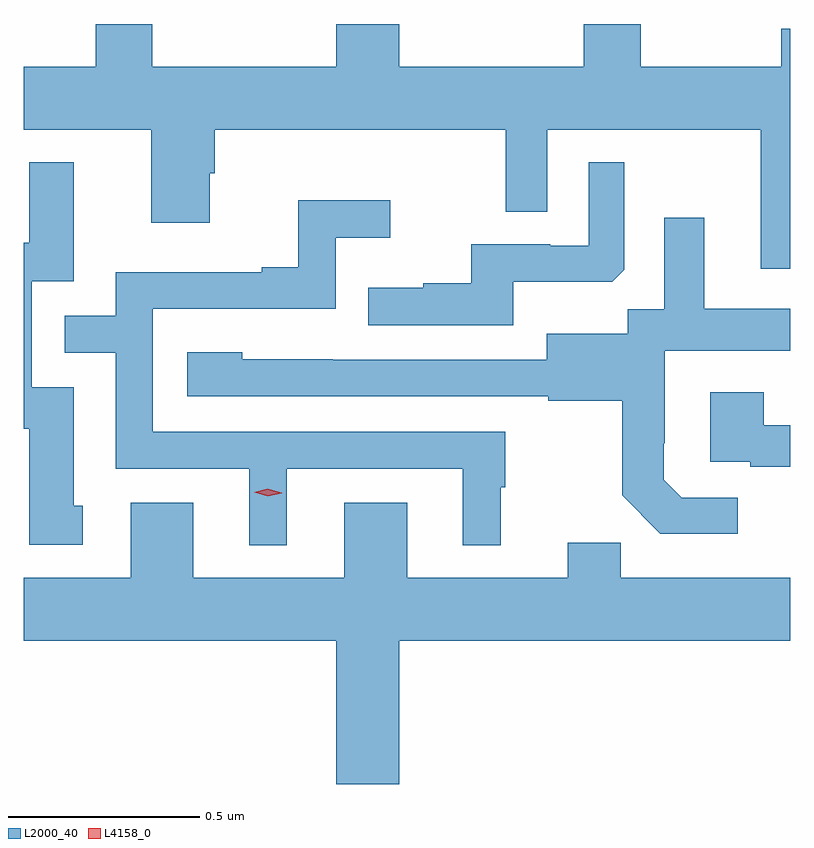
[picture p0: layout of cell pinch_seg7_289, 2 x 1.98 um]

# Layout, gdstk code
import gdstk
lib = gdstk.Library(unit=1e-6, precision=1e-09)
def P(c, l, *ps):  # polygons
    for p in ps: c.add(gdstk.Polygon(p, *l))
L2000_40 = (2000, 40)
L4158_0 = (4158, 0)

pinch_seg7_289 = lib.new_cell('pinch_seg7_289')
P(pinch_seg7_289, L2000_40, [(753.604,1051.495),(753.58,1051.495),(753.58,1051.396),(753.213,1051.396),(753.213,1051.508),(753.065,1051.508),(753.065,1051.396),(752.584,1051.396),(752.584,1051.508),(752.42,1051.508),(752.42,1051.396),(751.939,1051.396),(751.939,1051.508),(751.792,1051.508),(751.792,1051.396),(751.604,1051.396),(751.604,1051.232),(751.937,1051.232),(751.937,1050.99),(752.089,1050.99),(752.089,1051.119),(752.102,1051.119),(752.102,1051.232),(752.862,1051.232),(752.862,1051.018),(752.97,1051.018),(752.97,1051.232),(753.527,1051.232),(753.527,1050.87),(753.604,1050.87)],
  [(752.881,1050.836),(753.139,1050.836),(753.171,1050.867),(753.171,1051.147),(753.078,1051.147),(753.078,1050.93),(752.978,1050.93),(752.978,1050.933),(752.771,1050.933),(752.771,1050.832),(752.647,1050.832),(752.647,1050.82),(752.503,1050.82),(752.503,1050.723),(752.881,1050.723)],
  [(751.759,1050.252),(751.735,1050.252),(751.735,1050.561),(751.626,1050.561),(751.626,1050.837),(751.735,1050.837),(751.735,1051.147),(751.619,1051.147),(751.619,1050.938),(751.604,1050.938),(751.604,1050.453),(751.619,1050.453),(751.619,1050.15),(751.759,1050.15)],
  [(752.29,1050.348),(752.75,1050.348),(752.75,1050.149),(752.848,1050.149),(752.848,1050.3),(752.86,1050.3),(752.86,1050.444),(751.941,1050.444),(751.941,1050.765),(752.418,1050.765),(752.418,1050.95),(752.56,1050.95),(752.56,1051.049),(752.32,1051.049),(752.32,1050.874),(752.225,1050.874),(752.225,1050.861),(751.845,1050.861),(751.845,1050.747),(751.711,1050.747),(751.711,1050.651),(751.845,1050.651),(751.845,1050.348),(752.192,1050.348),(752.192,1050.149),(752.29,1050.149)],
  [(753.466,1050.273),(753.321,1050.273),(753.274,1050.32),(753.274,1050.415),(753.276,1050.415),(753.276,1050.656),(753.604,1050.656),(753.604,1050.766),(753.379,1050.766),(753.379,1051.003),(753.275,1051.003),(753.275,1050.764),(753.18,1050.764),(753.18,1050.7),(752.969,1050.7),(752.969,1050.633),(752.411,1050.633),(752.411,1050.634),(752.175,1050.634),(752.175,1050.652),(752.031,1050.652),(752.031,1050.537),(752.973,1050.537),(752.973,1050.525),(753.165,1050.525),(753.165,1050.279),(753.265,1050.179),(753.466,1050.179)],
  [(753.604,1050.462),(753.535,1050.462),(753.535,1050.547),(753.395,1050.547),(753.395,1050.366),(753.499,1050.366),(753.499,1050.354),(753.604,1050.354)],
  [(752.584,1049.9),(753.604,1049.9),(753.604,1050.064),(753.161,1050.064),(753.161,1050.155),(753.023,1050.155),(753.023,1050.064),(752.605,1050.064),(752.605,1050.259),(752.441,1050.259),(752.441,1050.064),(752.047,1050.064),(752.047,1050.259),(751.883,1050.259),(751.883,1050.064),(751.604,1050.064),(751.604,1049.9),(752.42,1049.9),(752.42,1049.526),(752.584,1049.526)])
P(pinch_seg7_289, L4158_0, [(752.241,1050.276),(752.205,1050.287),(752.205,1050.287),(752.205,1050.287),(752.241,1050.296),(752.277,1050.285),(752.277,1050.284),(752.277,1050.284)])

lib.write_gds('pinch_seg7_289.gds')
